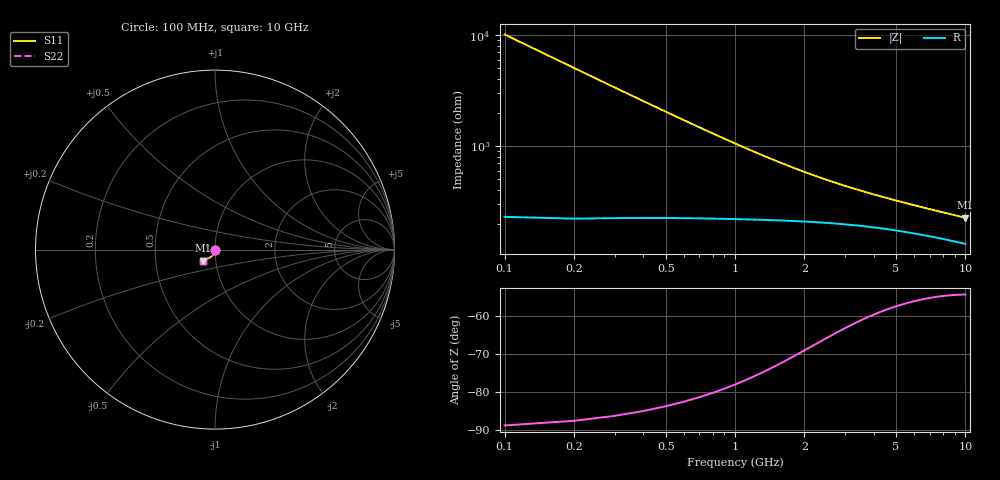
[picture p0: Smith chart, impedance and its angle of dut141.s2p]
! Touchstone file exported from HFSS 2024.1.0
!  File:  C:/UserFiles/LocalFiles/RDL_TSV_Batchsim/temp_TSV1_141_1778754553.aedt
!  Generated:  06:32:40 PM May 14, 2026
!  Design:  TSV1
!  Project:  temp_TSV1_141_1778754553
!  Setup:  Setup1
!  Solution:  Sweep
! Variables:
!  dtsv = 17.04um
!  hbump = 3um
!  htsv = 76.04um
!  lrdl = 252.1521522um
!  p = 40
!  p1 = 40.35um
!  t = 500um
!  trdl = 3um
!  wrdl = 24.89489489um
# GHz S MA R 50.000000
! Terminal data exported
! Port[1] = TSV22_T1
! Port[2] = TSV22_T2
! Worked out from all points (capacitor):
!   100 points, 100 MHz to 10 GHz, reference 50 ohm
!   read as one part in shunt: C = 157 fF near 100 MHz
!   lowest |Z| = 226 ohm at 10 GHz (marker M1)
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0.1  0.002238 -89.4  0.9999 -0.2  0.9999 -0.2  0.002238 -89.4
! Gamma 0 0 0 0
! Port Impedance 50 0 50 0
0.2  0.004493 -91.6  0.9997 -0.3  0.9997 -0.3  0.004493 -91.6
0.3  0.00674 -93.4  0.9993 -0.5  0.9993 -0.5  0.00674 -93.4
0.4  0.008968 -95.1  0.9989 -0.6  0.9989 -0.6  0.008968 -95.1
0.5  0.01117 -96.7  0.9984 -0.8  0.9984 -0.8  0.01117 -96.7
0.6  0.01333 -98.2  0.9978 -0.9  0.9978 -0.9  0.01333 -98.2
0.7  0.01546 -99.6  0.9971 -1.0  0.9971 -1.0  0.01546 -99.6
0.8  0.01755 -101.0  0.9963 -1.2  0.9963 -1.2  0.01755 -101.0
0.9  0.01959 -102.4  0.9955 -1.3  0.9955 -1.3  0.01959 -102.4
1.1  0.02352 -105.0  0.9936 -1.6  0.9936 -1.6  0.02352 -105.0
1.4  0.02902 -108.6  0.9905 -1.9  0.9905 -1.9  0.02902 -108.6
1.6  0.0324 -110.8  0.9884 -2.1  0.9884 -2.1  0.0324 -110.8
1.8  0.03557 -112.8  0.9861 -2.3  0.9861 -2.3  0.03557 -112.8
2.1  0.03993 -115.6  0.9828 -2.5  0.9828 -2.5  0.03993 -115.6
2.5  0.04508 -118.8  0.9785 -2.8  0.9785 -2.8  0.04508 -118.8
2.9  0.0496 -121.4  0.9745 -3.1  0.9745 -3.1  0.0496 -121.4
3.4  0.05452 -124.2  0.9698 -3.4  0.9698 -3.4  0.05452 -124.2
4.2  0.06115 -127.5  0.9635 -3.8  0.9635 -3.8  0.06115 -127.5
5.1  0.06738 -130.2  0.9574 -4.1  0.9574 -4.1  0.06738 -130.2
6.7  0.07641 -133.4  0.9489 -4.8  0.9489 -4.8  0.07641 -133.4
8.4  0.08421 -135.5  0.9418 -5.3  0.9418 -5.3  0.08421 -135.5
10  0.09045 -136.8  0.9364 -5.9  0.9364 -5.9  0.09045 -136.8
